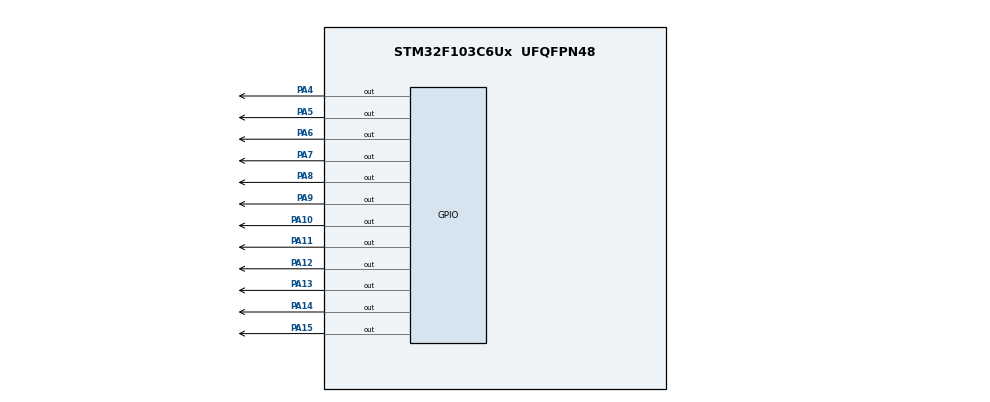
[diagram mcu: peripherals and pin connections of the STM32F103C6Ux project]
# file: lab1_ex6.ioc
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Mcu.Family=STM32F1
Mcu.Name=STM32F103C6Ux
Mcu.Package=UFQFPN48
NVIC.PriorityGroup=NVIC_PRIORITYGROUP_4
PA10.Signal=GPIO_Output
PA11.Signal=GPIO_Output
PA12.Signal=GPIO_Output
PA13.Signal=GPIO_Output
PA14.Signal=GPIO_Output
PA15.Signal=GPIO_Output
PA4.Signal=GPIO_Output
PA5.Signal=GPIO_Output
PA6.Signal=GPIO_Output
PA7.Signal=GPIO_Output
PA8.Signal=GPIO_Output
PA9.Signal=GPIO_Output
ProjectManager.HeapSize=0x200
ProjectManager.StackSize=0x400
ProjectManager.TargetToolchain=STM32CubeIDE
RCC.APB1Freq_Value=8000000
RCC.APB2Freq_Value=8000000
VP_SYS_VS_ND.Mode=No_Debug
board=custom

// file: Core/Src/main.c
/* USER CODE BEGIN Header */
/**
  ******************************************************************************
  * @file           : main.c
  * @brief          : Main program body
  ******************************************************************************
  * @attention
  *
  * <h2><center>&copy; Copyright (c) 2022 STMicroelectronics.
  * All rights reserved.</center></h2>
  *
  * This software component is licensed by ST under BSD 3-Clause license,
  * the "License"; You may not use this file except in compliance with the
  * License. You may obtain a copy of the License at:
  *                        opensource.org/licenses/BSD-3-Clause
  *
  ******************************************************************************
  */
/* USER CODE END Header */
#include "main.h"

void SystemClock_Config(void);
static void MX_GPIO_Init(void);

int main(void)
{

  /* MCU Configuration--------------------------------------------------------*/

  /* Reset of all peripherals, Initializes the Flash interface and the Systick. */
  HAL_Init();

  /* Configure the system clock */
  SystemClock_Config();

  /* Initialize all configured peripherals */
  MX_GPIO_Init();

  /* Infinite loop */
  /* USER CODE BEGIN WHILE */
  int number = 0;
  while (1)
  {
    /* USER CODE END WHILE */
	  if (number >= 13) number  =0;
		  Testingclock(number++);
		  HAL_Delay(1000);
  }
}

void SystemClock_Config(void)
{
  RCC_OscInitTypeDef RCC_OscInitStruct = {0};
  RCC_ClkInitTypeDef RCC_ClkInitStruct = {0};

  /** Initializes the RCC Oscillators according to the specified parameters
  * in the RCC_OscInitTypeDef structure.
  */
  RCC_OscInitStruct.OscillatorType = RCC_OSCILLATORTYPE_HSI;
  RCC_OscInitStruct.HSIState = RCC_HSI_ON;
  RCC_OscInitStruct.HSICalibrationValue = RCC_HSICALIBRATION_DEFAULT;
  RCC_OscInitStruct.PLL.PLLState = RCC_PLL_NONE;
  if (HAL_RCC_OscConfig(&RCC_OscInitStruct) != HAL_OK)
  {
    Error_Handler();
  }
  /** Initializes the CPU, AHB and APB buses clocks
  */
  RCC_ClkInitStruct.ClockType = RCC_CLOCKTYPE_HCLK|RCC_CLOCKTYPE_SYSCLK
                              |RCC_CLOCKTYPE_PCLK1|RCC_CLOCKTYPE_PCLK2;
  RCC_ClkInitStruct.SYSCLKSource = RCC_SYSCLKSOURCE_HSI;
  RCC_ClkInitStruct.AHBCLKDivider = RCC_SYSCLK_DIV1;
  RCC_ClkInitStruct.APB1CLKDivider = RCC_HCLK_DIV1;
  RCC_ClkInitStruct.APB2CLKDivider = RCC_HCLK_DIV1;

  if (HAL_RCC_ClockConfig(&RCC_ClkInitStruct, FLASH_LATENCY_0) != HAL_OK)
  {
    Error_Handler();
  }
}

static void MX_GPIO_Init(void)
{
  GPIO_InitTypeDef GPIO_InitStruct = {0};

  /* GPIO Ports Clock Enable */
  __HAL_RCC_GPIOA_CLK_ENABLE();

  /*Configure GPIO pin Output Level */
  HAL_GPIO_WritePin(GPIOA, GPIO_PIN_4|GPIO_PIN_5|GPIO_PIN_6|GPIO_PIN_7
                          |GPIO_PIN_8|GPIO_PIN_9|GPIO_PIN_10|GPIO_PIN_11
                          |GPIO_PIN_12|GPIO_PIN_13|GPIO_PIN_14|GPIO_PIN_15, GPIO_PIN_RESET);

  /*Configure GPIO pins : PA4 PA5 PA6 PA7
                           PA8 PA9 PA10 PA11
                           PA12 PA13 PA14 PA15 */
  GPIO_InitStruct.Pin = GPIO_PIN_4|GPIO_PIN_5|GPIO_PIN_6|GPIO_PIN_7
                          |GPIO_PIN_8|GPIO_PIN_9|GPIO_PIN_10|GPIO_PIN_11
                          |GPIO_PIN_12|GPIO_PIN_13|GPIO_PIN_14|GPIO_PIN_15;
  GPIO_InitStruct.Mode = GPIO_MODE_OUTPUT_PP;
  GPIO_InitStruct.Pull = GPIO_NOPULL;
  GPIO_InitStruct.Speed = GPIO_SPEED_FREQ_LOW;
  HAL_GPIO_Init(GPIOA, &GPIO_InitStruct);

}

/* USER CODE BEGIN 4 */
void Testingclock(int num){
	HAL_GPIO_WritePin (GPIOA , GPIO_PIN_4 | GPIO_PIN_5 | GPIO_PIN_6 |
	GPIO_PIN_7 | GPIO_PIN_8 | GPIO_PIN_9 | GPIO_PIN_10 |
	GPIO_PIN_11 | GPIO_PIN_12 | GPIO_PIN_13 | GPIO_PIN_14 |
	GPIO_PIN_15 , GPIO_PIN_SET );
switch(num){

case 1 :{

	 HAL_GPIO_WritePin (GPIOA , GPIO_PIN_4 , GPIO_PIN_RESET );
	 HAL_Delay(1000);
	 break;
}
case 2 :{
	 HAL_GPIO_WritePin (GPIOA , GPIO_PIN_5 , GPIO_PIN_RESET );
	 HAL_Delay(1000);
		 break;
}
case 3 :{ HAL_GPIO_WritePin (GPIOA , GPIO_PIN_6 , GPIO_PIN_RESET );
HAL_Delay(1000);
break;
}
case 4 :{ HAL_GPIO_WritePin (GPIOA , GPIO_PIN_7 , GPIO_PIN_RESET );
HAL_Delay(1000);
break;
}
case 5 :{ HAL_GPIO_WritePin (GPIOA , GPIO_PIN_8 , GPIO_PIN_RESET );
HAL_Delay(1000);
break;
}
case 6 :{ HAL_GPIO_WritePin (GPIOA , GPIO_PIN_9 , GPIO_PIN_RESET );
HAL_Delay(1000);
break;
}
case 7 :{ HAL_GPIO_WritePin (GPIOA , GPIO_PIN_10 , GPIO_PIN_RESET );
HAL_Delay(1000);
break;
}
case 8 :{ HAL_GPIO_WritePin (GPIOA , GPIO_PIN_11, GPIO_PIN_RESET );
HAL_Delay(1000);
break;
}
case 9 :{ HAL_GPIO_WritePin (GPIOA , GPIO_PIN_12, GPIO_PIN_RESET );
HAL_Delay(1000);
break;
}
case 10 :{ HAL_GPIO_WritePin (GPIOA , GPIO_PIN_13, GPIO_PIN_RESET );
HAL_Delay(1000);
break;
}
case 11:{ HAL_GPIO_WritePin (GPIOA , GPIO_PIN_14 , GPIO_PIN_RESET );
HAL_Delay(1000);
break;
}
case 12 :{ HAL_GPIO_WritePin (GPIOA , GPIO_PIN_15, GPIO_PIN_RESET );
HAL_Delay(1000);
break;
}
default:{break;}
}
}
/* USER CODE END 4 */

void Error_Handler(void)
{
  __disable_irq();
  while (1)
  {
  }
}

/************************ (C) COPYRIGHT STMicroelectronics *****END OF FILE****/
